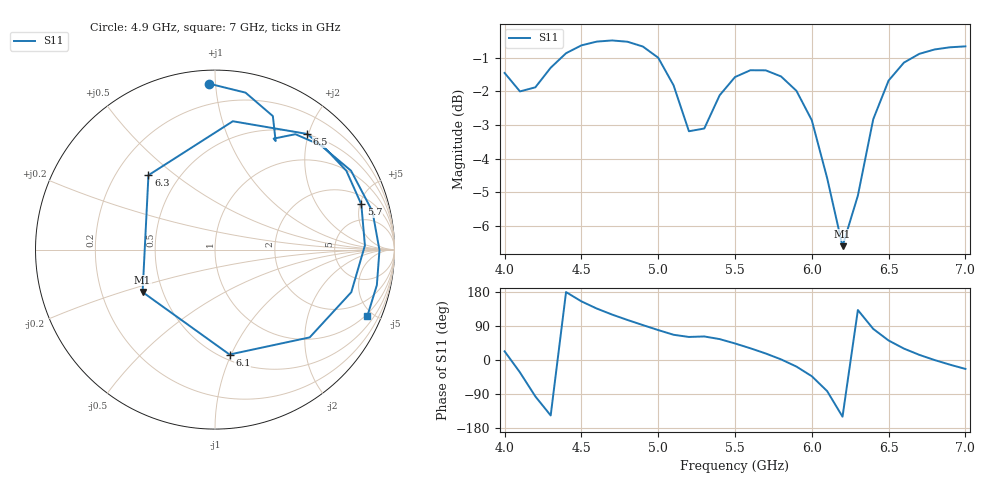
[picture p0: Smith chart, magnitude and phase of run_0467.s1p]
! Touchstone file exported from HFSS 2024.2.0
!  File:  C:/Users/wsak9/Desktop/Sim Fast/Widenad Patch/WP_AI_V1_sweep.aedt
!  Generated:  11:25:13 AM Oct 14, 2026
!  Design:  A1_model
!  Project:  WP_AI_V1_sweep
!  Setup:  Setup1
!  Solution:  Sweep
! Variables:
!  Air_gap = 4.71mm
!  Curve_Amp1 = 3.23
!  Curve_len1 = 1
!  Curve_pos = 10.935mm
!  Extra = 3.79mm
!  H_sub = 0.79mm
!  L_Patch = 17.87mm
!  L_Patch1 = 12mm
!  Sx = 4.35mm
!  Sy = 3.52mm
!  WS = 0.22mm
!  W_Patch = 19.21mm
!  W_Patch1 = 8.21mm
!Data is not renormalized
# GHz S MA
! Terminal data exported
! Port[1] = 1
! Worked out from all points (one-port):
!   31 points, 4 GHz to 7 GHz, reference per port
!   lowest |S11| = -6.6 dB at 6.2 GHz (marker M1), VSWR 2.76
!   |S11| at or under -10 dB: nowhere
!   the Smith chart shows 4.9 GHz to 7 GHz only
!   S11 on the Smith chart (normalised r, x): 4.9 GHz: 0.07, +0.96; 5.7 GHz: 2.79, +5.16; 6.1 GHz: 0.55, -0.99; 6.3 GHz: 0.34, +0.40; 6.5 GHz: 0.49, +1.98; 7 GHz: 0.89, -4.63
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4  0.8457 22.9
4.1  0.7939 -32.8
4.2  0.8051 -96.0
4.3  0.8609 -146.4
4.4  0.9046 179.2
4.5  0.9293 154.7
4.6  0.9413 135.8
4.8  0.9409 105.6
4.9  0.9256 92.2
5  0.8909 79.0
5.1  0.8107 66.6
5.2  0.6929 60.8
5.3  0.6994 62.1
5.4  0.7835 55.1
5.5  0.8339 43.7
5.7  0.8533 17.2
5.8  0.8356 1.6
5.9  0.7956 -17.3
6  0.7195 -42.8
6.1  0.5902 -82.1
6.2  0.4678 -149.6
6.3  0.5561 131.8
6.4  0.7219 82.1
6.5  0.8239 51.4
6.6  0.8762 30.1
6.7  0.9027 13.6
6.8  0.9164 -0.2
7  0.9261 -23.6
